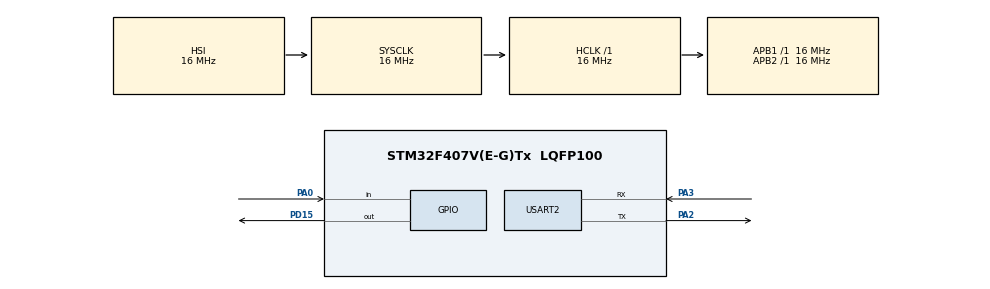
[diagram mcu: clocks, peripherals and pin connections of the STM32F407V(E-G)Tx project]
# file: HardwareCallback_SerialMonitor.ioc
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Mcu.Family=STM32F4
Mcu.Name=STM32F407V(E-G)Tx
Mcu.Package=LQFP100
NVIC.PriorityGroup=NVIC_PRIORITYGROUP_4
NVIC.TIM3_IRQn=true\:0\:0\:false\:false\:true\:true\:true\:true
PA0-WKUP.Signal=GPIO_Input
PA2.Mode=Asynchronous
PA2.Signal=USART2_TX
PA3.Mode=Asynchronous
PA3.Signal=USART2_RX
PD15.Signal=GPIO_Output
ProjectManager.HeapSize=0x200
ProjectManager.StackSize=0x400
ProjectManager.TargetToolchain=STM32CubeIDE
RCC.AHBFreq_Value=16000000
RCC.APB1Freq_Value=16000000
RCC.APB2Freq_Value=16000000
RCC.CortexFreq_Value=16000000
RCC.HSE_VALUE=25000000
RCC.HSI_VALUE=16000000
RCC.LSE_VALUE=32768
RCC.SYSCLKFreq_VALUE=16000000
RCC.VCOOutputFreq_Value=192000000
TIM3.Period=99
TIM3.Prescaler=1599
USART2.VirtualMode=VM_ASYNC
VP_TIM3_VS_ClockSourceINT.Mode=Internal
board=custom

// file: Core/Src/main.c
/* USER CODE BEGIN Header */
/**
  ******************************************************************************
  * @file           : main.c
  * @brief          : Main program body
  ******************************************************************************
  * @attention
  *
  * Copyright (c) 2026 STMicroelectronics.
  * All rights reserved.
  *
  * This software is licensed under terms that can be found in the LICENSE file
  * in the root directory of this software component.
  * If no LICENSE file comes with this software, it is provided AS-IS.
  *
  ******************************************************************************
  */
/* USER CODE END Header */
#include "main.h"

/* USER CODE BEGIN Includes */
#include <string.h>
/* USER CODE END Includes */

TIM_HandleTypeDef htim3;

UART_HandleTypeDef huart2;

void SystemClock_Config(void);
static void MX_GPIO_Init(void);
static void MX_TIM3_Init(void);
static void MX_USART2_UART_Init(void);

/* USER CODE BEGIN 0 */
/* USER CODE BEGIN 0 */
void ledControl(GPIO_PinState state)
{
    HAL_GPIO_WritePin(GPIOD, GPIO_PIN_15, state);
}

void (*hardwareCallback)(GPIO_PinState) = &ledControl;

GPIO_PinState prevButtonState = GPIO_PIN_RESET;
/* USER CODE END 0 */
/* USER CODE END 0 */

int main(void)
{

  /* MCU Configuration--------------------------------------------------------*/

  /* Reset of all peripherals, Initializes the Flash interface and the Systick. */
  HAL_Init();

  /* Configure the system clock */
  SystemClock_Config();

  /* Initialize all configured peripherals */
  MX_GPIO_Init();
  MX_TIM3_Init();
  MX_USART2_UART_Init();
  /* USER CODE BEGIN 2 */
  HAL_TIM_Base_Start_IT(&htim3);
  /* USER CODE END 2 */

  /* Infinite loop */
  while (1)
  {

  }
}

void SystemClock_Config(void)
{
  RCC_OscInitTypeDef RCC_OscInitStruct = {0};
  RCC_ClkInitTypeDef RCC_ClkInitStruct = {0};

  /** Configure the main internal regulator output voltage
  */
  __HAL_RCC_PWR_CLK_ENABLE();
  __HAL_PWR_VOLTAGESCALING_CONFIG(PWR_REGULATOR_VOLTAGE_SCALE1);

  /** Initializes the RCC Oscillators according to the specified parameters
  * in the RCC_OscInitTypeDef structure.
  */
  RCC_OscInitStruct.OscillatorType = RCC_OSCILLATORTYPE_HSI;
  RCC_OscInitStruct.HSIState = RCC_HSI_ON;
  RCC_OscInitStruct.HSICalibrationValue = RCC_HSICALIBRATION_DEFAULT;
  RCC_OscInitStruct.PLL.PLLState = RCC_PLL_NONE;
  if (HAL_RCC_OscConfig(&RCC_OscInitStruct) != HAL_OK)
  {
    Error_Handler();
  }

  /** Initializes the CPU, AHB and APB buses clocks
  */
  RCC_ClkInitStruct.ClockType = RCC_CLOCKTYPE_HCLK|RCC_CLOCKTYPE_SYSCLK
                              |RCC_CLOCKTYPE_PCLK1|RCC_CLOCKTYPE_PCLK2;
  RCC_ClkInitStruct.SYSCLKSource = RCC_SYSCLKSOURCE_HSI;
  RCC_ClkInitStruct.AHBCLKDivider = RCC_SYSCLK_DIV1;
  RCC_ClkInitStruct.APB1CLKDivider = RCC_HCLK_DIV1;
  RCC_ClkInitStruct.APB2CLKDivider = RCC_HCLK_DIV1;

  if (HAL_RCC_ClockConfig(&RCC_ClkInitStruct, FLASH_LATENCY_0) != HAL_OK)
  {
    Error_Handler();
  }
}

static void MX_TIM3_Init(void)
{

  TIM_ClockConfigTypeDef sClockSourceConfig = {0};
  TIM_MasterConfigTypeDef sMasterConfig = {0};

  htim3.Instance = TIM3;
  htim3.Init.Prescaler = 1599;
  htim3.Init.CounterMode = TIM_COUNTERMODE_UP;
  htim3.Init.Period = 99;
  htim3.Init.ClockDivision = TIM_CLOCKDIVISION_DIV1;
  htim3.Init.AutoReloadPreload = TIM_AUTORELOAD_PRELOAD_DISABLE;
  if (HAL_TIM_Base_Init(&htim3) != HAL_OK)
  {
    Error_Handler();
  }
  sClockSourceConfig.ClockSource = TIM_CLOCKSOURCE_INTERNAL;
  if (HAL_TIM_ConfigClockSource(&htim3, &sClockSourceConfig) != HAL_OK)
  {
    Error_Handler();
  }
  sMasterConfig.MasterOutputTrigger = TIM_TRGO_RESET;
  sMasterConfig.MasterSlaveMode = TIM_MASTERSLAVEMODE_DISABLE;
  if (HAL_TIMEx_MasterConfigSynchronization(&htim3, &sMasterConfig) != HAL_OK)
  {
    Error_Handler();
  }

}

static void MX_USART2_UART_Init(void)
{

  huart2.Instance = USART2;
  huart2.Init.BaudRate = 115200;
  huart2.Init.WordLength = UART_WORDLENGTH_8B;
  huart2.Init.StopBits = UART_STOPBITS_1;
  huart2.Init.Parity = UART_PARITY_NONE;
  huart2.Init.Mode = UART_MODE_TX_RX;
  huart2.Init.HwFlowCtl = UART_HWCONTROL_NONE;
  huart2.Init.OverSampling = UART_OVERSAMPLING_16;
  if (HAL_UART_Init(&huart2) != HAL_OK)
  {
    Error_Handler();
  }

}

static void MX_GPIO_Init(void)
{
  GPIO_InitTypeDef GPIO_InitStruct = {0};

  /* GPIO Ports Clock Enable */
  __HAL_RCC_GPIOA_CLK_ENABLE();
  __HAL_RCC_GPIOD_CLK_ENABLE();

  /*Configure GPIO pin Output Level */
  HAL_GPIO_WritePin(GPIOD, GPIO_PIN_15, GPIO_PIN_RESET);

  /*Configure GPIO pin : PA0 */
  GPIO_InitStruct.Pin = GPIO_PIN_0;
  GPIO_InitStruct.Mode = GPIO_MODE_INPUT;
  GPIO_InitStruct.Pull = GPIO_NOPULL;
  HAL_GPIO_Init(GPIOA, &GPIO_InitStruct);

  /*Configure GPIO pin : PD15 */
  GPIO_InitStruct.Pin = GPIO_PIN_15;
  GPIO_InitStruct.Mode = GPIO_MODE_OUTPUT_PP;
  GPIO_InitStruct.Pull = GPIO_NOPULL;
  GPIO_InitStruct.Speed = GPIO_SPEED_FREQ_LOW;
  HAL_GPIO_Init(GPIOD, &GPIO_InitStruct);

}

/* USER CODE BEGIN 4 */
void HAL_TIM_PeriodElapsedCallback(TIM_HandleTypeDef *htim)
{
    if(htim == &htim3)
    {
        GPIO_PinState currentState = HAL_GPIO_ReadPin(GPIOA, GPIO_PIN_0);

        if(currentState != prevButtonState)
        {
            prevButtonState = currentState;
            if(currentState == GPIO_PIN_SET)
            {
                hardwareCallback(GPIO_PIN_SET);
                char *msg = "Button Pressed: LED on\r\n";
                HAL_UART_Transmit(&huart2, (uint8_t*)msg, strlen(msg), HAL_MAX_DELAY);
            }
            else
            {
                hardwareCallback(GPIO_PIN_RESET);
                char *msg = "Button Released: LED off\r\n";
                HAL_UART_Transmit(&huart2, (uint8_t*)msg, strlen(msg), HAL_MAX_DELAY);
            }
        }
    }
}
/* USER CODE END 4 */

void Error_Handler(void)
{
  __disable_irq();
  while (1)
  {
  }
}
